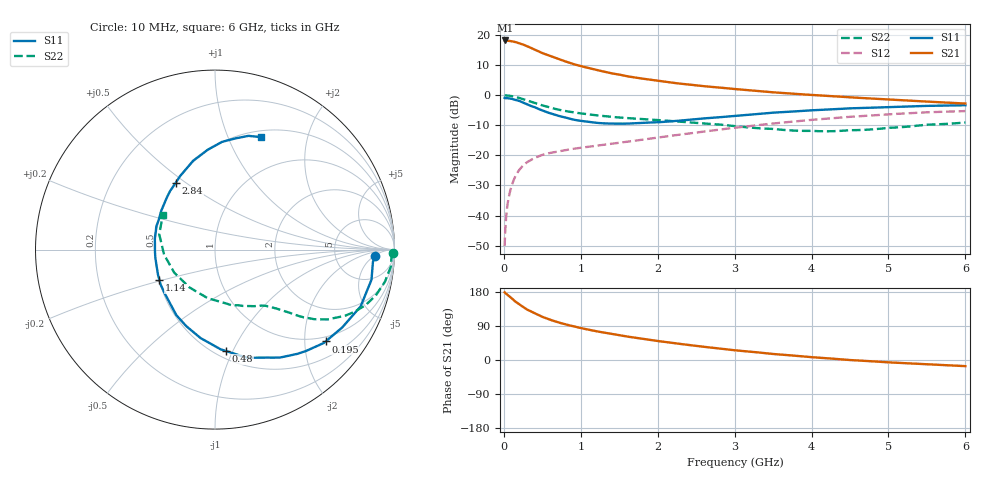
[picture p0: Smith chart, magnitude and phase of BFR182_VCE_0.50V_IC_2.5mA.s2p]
! Infineon Technologies  Discrete & RF Semiconductors
! BFR182
! VCE = 0.50 V,  IC =  2.5 mA
! Common Emitter S-Parameters:  Nov 2015
# GHz  S  MA  R  50
!  f  S11  S21  S12  S22
! GHz  MAG  ANG  MAG  ANG  MAG  ANG  MAG  ANG
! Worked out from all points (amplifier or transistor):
!   210 points, 10 MHz to 6 GHz, reference 50 ohm
!   highest |S21| = 18.1 dB at 20 MHz (marker M1)
!   |S21| within 3 dB of that: start of sweep to 398.2 MHz
!   unconditionally stable (mu >= 1): 1.245 GHz to 3.805 GHz
!   at 185 MHz: K = 0.22, MSG = 21.4 dB, |S12| = -25.4 dB
!   at 1.52 GHz: K = 1.09, MAG = 9.4 dB, |S12| = -15.8 dB
!   at 6 GHz: K = 0.98, MSG = 1.2 dB, |S12| = -5.3 dB
!   S11 on the Smith chart (normalised r, x): 10 MHz: 16, -5; 195 MHz: 0.88, -2.50; 480 MHz: 0.56, -0.94; 1.14 GHz: 0.50, -0.20; 2.84 GHz: 0.50, +0.46; 6 GHz: 0.57, +1.33
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0.01  0.8937 -2.2  8.043 178.5  0.0031 89.8  0.9915 -1.2
0.02  0.8826 -4.4  8.054 176.5  0.0062 91.5  0.9838 -2.3
0.05  0.8879 -10.9  7.992 171.4  0.016 83.9  0.9844 -5.5
0.1  0.8708 -21.3  7.841 163.2  0.0307 78.8  0.9637 -10.7
0.15  0.831 -31.5  7.587 154.1  0.045 72.2  0.9317 -15.9
0.195  0.8009 -39.7  7.255 147.7  0.056 68.1  0.8995 -19.6
0.24  0.7585 -48.2  6.949 141.2  0.0654 63.8  0.8625 -23.0
0.3  0.7023 -58.9  6.503 133.3  0.0765 60.0  0.8125 -27.0
0.4  0.6287 -73.5  5.689 123.3  0.0904 54.0  0.7368 -31.9
0.48  0.5681 -83.9  5.106 116.0  0.0992 50.8  0.6865 -34.4
0.6  0.4993 -99.3  4.473 106.2  0.1093 47.8  0.6191 -37.5
0.7  0.4555 -110.6  4.023 99.5  0.1155 46.3  0.5749 -39.2
0.8  0.4241 -120.5  3.612 93.9  0.1218 45.2  0.5419 -40.4
1.02  0.3696 -139.9  2.979 83.6  0.1343 44.5  0.4923 -42.8
1.14  0.3535 -151.1  2.732 78.4  0.1409 44.6  0.471 -44.0
1.6  0.3353 175.7  2.052 62.0  0.1677 46.5  0.4149 -48.9
2.02  0.3542 152.4  1.711 49.6  0.1982 47.3  0.3834 -55.3
2.84  0.4323 120.2  1.317 29.4  0.2705 45.5  0.3208 -74.1
3.1  0.4618 113.2  1.227 23.9  0.2963 43.7  0.296 -82.5
4.1  0.5655 92.5  0.985 6.1  0.3963 34.4  0.2512 -129.2
5.1  0.6355 78.4  0.83 -7.2  0.4862 22.2  0.2893 -179.0
6  0.6773 67.7  0.722 -16.2  0.5422 9.6  0.3495 146.0
